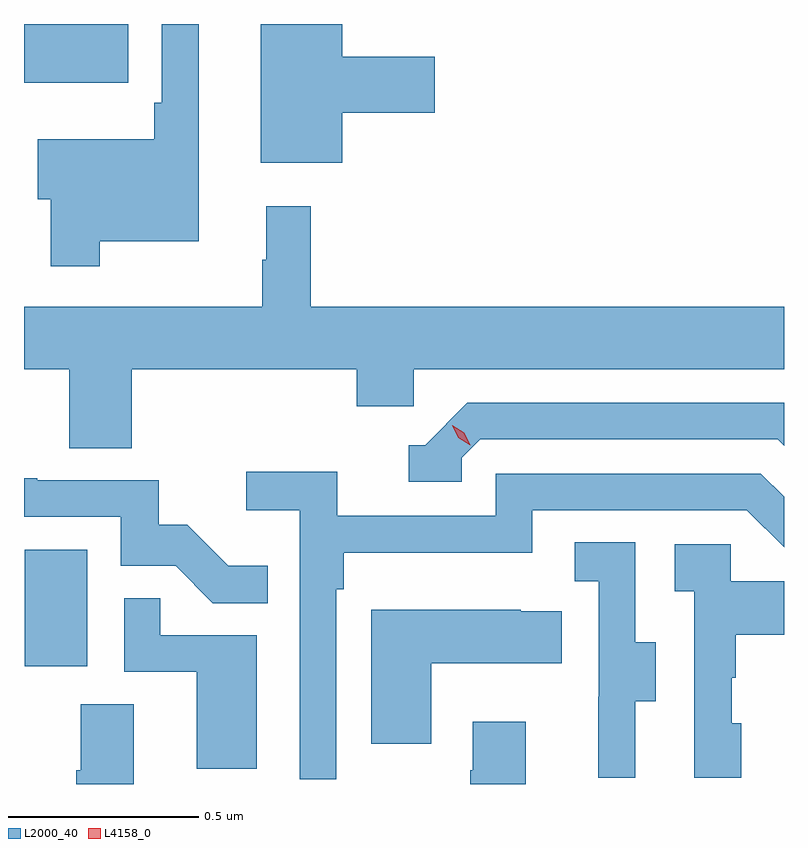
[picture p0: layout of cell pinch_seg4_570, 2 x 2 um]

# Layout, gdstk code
import gdstk
lib = gdstk.Library(unit=1e-6, precision=1e-09)
def R(c, l, rs):  # rectangles x0, y0, x1, y1
    for r in rs: c.add(gdstk.rectangle(r[:2], r[2:], *l))
def P(c, l, *ps):  # polygons
    for p in ps: c.add(gdstk.Polygon(p, *l))
L2000_40 = (2000, 40)
L4158_0 = (4158, 0)

pinch_seg4_570 = lib.new_cell('pinch_seg4_570')
R(pinch_seg4_570, L2000_40, [(1102.604,788.046,1102.768,788.353), (1102.602,789.581,1102.876,789.736)])
P(pinch_seg4_570, L2000_40, [(1103.44,789.503),(1103.683,789.503),(1103.683,789.65),(1103.44,789.65),(1103.44,789.736),(1103.225,789.736),(1103.225,789.371),(1103.44,789.371)],
  [(1102.801,789.164),(1103.062,789.164),(1103.062,789.736),(1102.965,789.736),(1102.965,789.529),(1102.945,789.529),(1102.945,789.433),(1102.638,789.433),(1102.638,789.275),(1102.672,789.275),(1102.672,789.099),(1102.801,789.099)],
  [(1102.886,788.828),(1103.477,788.828),(1103.477,788.73),(1103.628,788.73),(1103.628,788.828),(1104.602,788.828),(1104.602,788.992),(1103.357,788.992),(1103.357,789.256),(1103.24,789.256),(1103.24,789.116),(1103.229,789.116),(1103.229,788.992),(1102.602,788.992),(1102.602,788.828),(1102.721,788.828),(1102.721,788.62),(1102.886,788.62)],
  [(1103.754,788.595),(1103.802,788.643),(1104.585,788.643),(1104.602,788.626),(1104.602,788.739),(1103.769,788.739),(1103.658,788.628),(1103.615,788.628),(1103.615,788.532),(1103.754,788.532)],
  [(1103.424,788.249),(1103.444,788.249),(1103.444,788.345),(1103.94,788.345),(1103.94,788.457),(1104.504,788.457),(1104.602,788.359),(1104.602,788.492),(1104.541,788.553),(1103.844,788.553),(1103.844,788.442),(1103.426,788.442),(1103.426,788.558),(1103.187,788.558),(1103.187,788.456),(1103.328,788.456),(1103.328,787.749),(1103.424,787.749)],
  [(1103.243,788.311),(1103.139,788.311),(1103.032,788.418),(1102.956,788.418),(1102.956,788.535),(1102.637,788.535),(1102.637,788.54),(1102.602,788.54),(1102.602,788.439),(1102.857,788.439),(1102.857,788.31),(1103.001,788.31),(1103.099,788.212),(1103.243,788.212)],
  [(1104.211,787.954),(1104.265,787.954),(1104.265,788.109),(1104.21,788.109),(1104.21,788.372),(1104.051,788.372),(1104.051,788.269),(1104.114,788.269),(1104.114,787.965),(1104.113,787.965),(1104.113,787.752),(1104.211,787.752)],
  [(1104.49,787.896),(1104.465,787.896),(1104.465,788.015),(1104.475,788.015),(1104.475,788.129),(1104.602,788.129),(1104.602,788.269),(1104.462,788.269),(1104.462,788.367),(1104.315,788.367),(1104.315,788.243),(1104.366,788.243),(1104.366,787.752),(1104.49,787.752)],
  [(1103.215,788.127),(1102.961,788.127),(1102.961,788.225),(1102.866,788.225),(1102.866,788.031),(1103.057,788.031),(1103.057,787.776),(1103.215,787.776)],
  [(1103.674,788.054),(1104.017,788.054),(1104.017,788.191),(1103.909,788.191),(1103.909,788.194),(1103.516,788.194),(1103.516,787.842),(1103.674,787.842)],
  [(1102.891,787.946),(1102.751,787.946),(1102.751,787.772),(1102.739,787.772),(1102.739,787.736),(1102.891,787.736)],
  [(1103.923,787.9),(1103.783,787.9),(1103.783,787.772),(1103.776,787.772),(1103.776,787.736),(1103.923,787.736)])
P(pinch_seg4_570, L4158_0, [(1103.776,788.628),(1103.745,788.647),(1103.729,788.679),(1103.729,788.68),(1103.729,788.68),(1103.76,788.66),(1103.776,788.628),(1103.776,788.628)])

lib.write_gds('pinch_seg4_570.gds')
